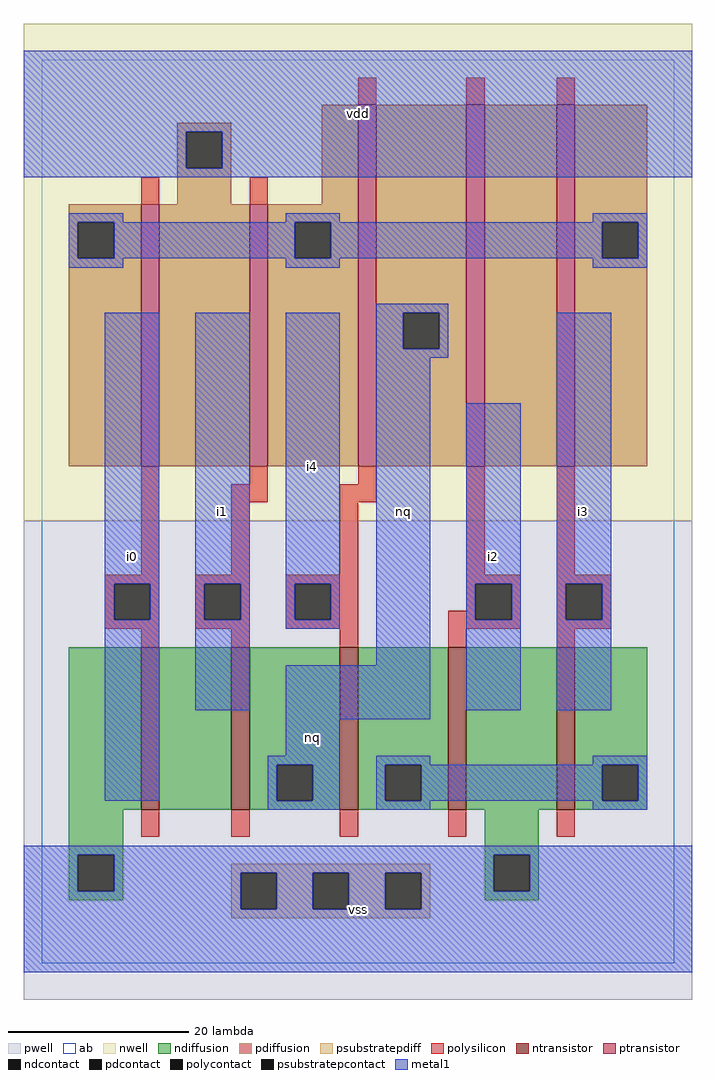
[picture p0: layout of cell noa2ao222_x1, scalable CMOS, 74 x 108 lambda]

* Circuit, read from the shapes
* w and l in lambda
.subckt noa2ao222_x1 i0 i1 i2 i3 i4 nq vdd vss
M1 n1 i0 vss vss nfet w=18 l=2
M2 nq i1 n1 vss nfet w=18 l=2
M3 n2 i4 nq vss nfet w=18 l=2
M4 vss i2 n2 vss nfet w=18 l=2
M5 n2 i3 vss vss nfet w=18 l=2
M6 vdd i0 n3 n4 pfet w=29 l=2
M7 n3 i1 vdd n4 pfet w=29 l=2
M8 nq i4 n3 n4 pfet w=40 l=2
M9 n5 i2 nq n4 pfet w=40 l=2
M10 n3 i3 n5 n4 pfet w=40 l=2
.ends

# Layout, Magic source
magic
tech scmos
<< ab >>
rect 0 0 70 100
<< pwell >>
rect -2 -4 72 49
<< nwell >>
rect -2 49 72 104
<< polysilicon >>
rect 35 95 37 98
rect 47 95 49 98
rect 57 95 59 98
rect 11 84 13 87
rect 23 84 25 87
rect 11 43 13 55
rect 23 53 25 55
rect 35 53 37 55
rect 21 51 25 53
rect 33 51 37 53
rect 21 43 23 51
rect 33 43 35 51
rect 7 42 13 43
rect 7 38 8 42
rect 12 38 13 42
rect 7 37 13 38
rect 17 42 23 43
rect 17 38 18 42
rect 22 38 23 42
rect 17 37 23 38
rect 27 42 35 43
rect 27 38 28 42
rect 32 38 35 42
rect 47 43 49 55
rect 57 43 59 55
rect 47 42 53 43
rect 47 39 48 42
rect 27 37 35 38
rect 11 35 13 37
rect 21 35 23 37
rect 33 35 35 37
rect 45 38 48 39
rect 52 38 53 42
rect 45 37 53 38
rect 57 42 63 43
rect 57 38 58 42
rect 62 38 63 42
rect 57 37 63 38
rect 45 35 47 37
rect 57 35 59 37
rect 11 14 13 17
rect 21 14 23 17
rect 33 14 35 17
rect 45 14 47 17
rect 57 14 59 17
<< ndiffusion >>
rect 3 17 11 35
rect 13 17 21 35
rect 23 22 33 35
rect 23 18 26 22
rect 30 18 33 22
rect 23 17 33 18
rect 35 22 45 35
rect 35 18 38 22
rect 42 18 45 22
rect 35 17 45 18
rect 47 17 57 35
rect 59 22 67 35
rect 59 18 62 22
rect 66 18 67 22
rect 59 17 67 18
rect 3 12 9 17
rect 3 8 4 12
rect 8 8 9 12
rect 49 12 55 17
rect 3 7 9 8
rect 49 8 50 12
rect 54 8 55 12
rect 49 7 55 8
<< pdiffusion >>
rect 15 92 21 93
rect 15 88 16 92
rect 20 88 21 92
rect 15 84 21 88
rect 31 84 35 95
rect 3 82 11 84
rect 3 78 4 82
rect 8 78 11 82
rect 3 55 11 78
rect 13 55 23 84
rect 25 82 35 84
rect 25 78 28 82
rect 32 78 35 82
rect 25 55 35 78
rect 37 72 47 95
rect 37 68 40 72
rect 44 68 47 72
rect 37 55 47 68
rect 49 55 57 95
rect 59 82 67 95
rect 59 78 62 82
rect 66 78 67 82
rect 59 55 67 78
<< metal1 >>
rect -2 92 72 101
rect -2 88 16 92
rect 20 88 72 92
rect -2 87 72 88
rect 3 82 9 83
rect 27 82 33 83
rect 61 82 67 83
rect 3 78 4 82
rect 8 78 28 82
rect 32 78 62 82
rect 66 78 67 82
rect 3 77 9 78
rect 27 77 33 78
rect 61 77 67 78
rect 37 72 45 73
rect 7 42 13 72
rect 7 38 8 42
rect 12 38 13 42
rect 7 18 13 38
rect 17 42 23 72
rect 17 38 18 42
rect 22 38 23 42
rect 17 28 23 38
rect 27 42 33 72
rect 27 38 28 42
rect 32 38 33 42
rect 27 37 33 38
rect 37 68 40 72
rect 44 68 45 72
rect 37 67 45 68
rect 37 33 43 67
rect 27 27 43 33
rect 47 42 53 62
rect 47 38 48 42
rect 52 38 53 42
rect 47 28 53 38
rect 57 42 63 72
rect 57 38 58 42
rect 62 38 63 42
rect 57 28 63 38
rect 27 23 33 27
rect 25 22 33 23
rect 25 18 26 22
rect 30 18 33 22
rect 25 17 33 18
rect 37 22 43 23
rect 61 22 67 23
rect 37 18 38 22
rect 42 18 62 22
rect 66 18 67 22
rect 37 17 43 18
rect 61 17 67 18
rect -2 12 72 13
rect -2 8 4 12
rect 8 10 50 12
rect 8 8 22 10
rect -2 6 22 8
rect 26 6 30 10
rect 34 6 38 10
rect 42 8 50 10
rect 54 8 72 12
rect 42 6 72 8
rect -2 -1 72 6
<< ntransistor >>
rect 11 17 13 35
rect 21 17 23 35
rect 33 17 35 35
rect 45 17 47 35
rect 57 17 59 35
<< ptransistor >>
rect 11 55 13 84
rect 23 55 25 84
rect 35 55 37 95
rect 47 55 49 95
rect 57 55 59 95
<< polycontact >>
rect 8 38 12 42
rect 18 38 22 42
rect 28 38 32 42
rect 48 38 52 42
rect 58 38 62 42
<< ndcontact >>
rect 26 18 30 22
rect 38 18 42 22
rect 62 18 66 22
rect 4 8 8 12
rect 50 8 54 12
<< pdcontact >>
rect 16 88 20 92
rect 4 78 8 82
rect 28 78 32 82
rect 40 68 44 72
rect 62 78 66 82
<< psubstratepcontact >>
rect 22 6 26 10
rect 30 6 34 10
rect 38 6 42 10
<< psubstratepdiff >>
rect 21 10 43 11
rect 21 6 22 10
rect 26 6 30 10
rect 34 6 38 10
rect 42 6 43 10
rect 21 5 43 6
<< labels >>
rlabel metal1 10 45 10 45 6 i0
rlabel metal1 10 45 10 45 6 i0
rlabel metal1 30 25 30 25 6 nq
rlabel metal1 30 25 30 25 6 nq
rlabel metal1 20 50 20 50 6 i1
rlabel metal1 20 50 20 50 6 i1
rlabel metal1 30 55 30 55 6 i4
rlabel metal1 30 55 30 55 6 i4
rlabel metal1 35 6 35 6 6 vss
rlabel metal1 35 6 35 6 6 vss
rlabel metal1 50 45 50 45 6 i2
rlabel metal1 50 45 50 45 6 i2
rlabel metal1 40 50 40 50 6 nq
rlabel metal1 40 50 40 50 6 nq
rlabel metal1 35 94 35 94 6 vdd
rlabel metal1 35 94 35 94 6 vdd
rlabel metal1 60 50 60 50 6 i3
rlabel metal1 60 50 60 50 6 i3
<< end >>
